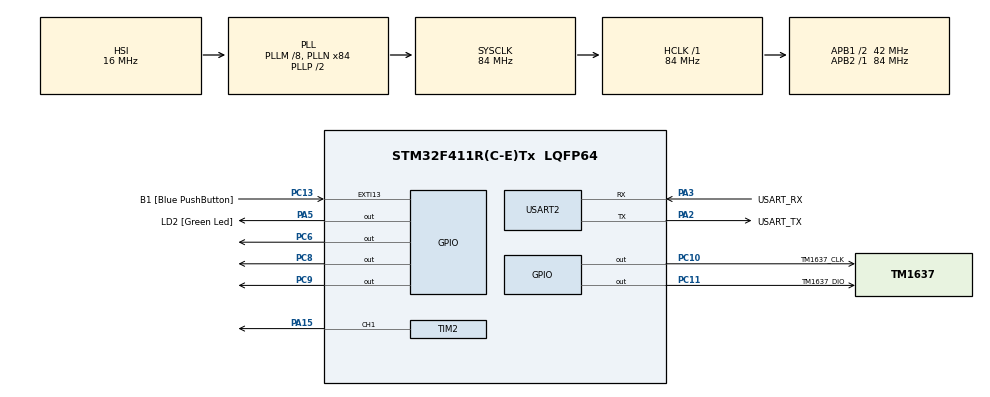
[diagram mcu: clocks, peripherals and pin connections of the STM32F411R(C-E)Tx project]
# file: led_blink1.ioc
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Mcu.Family=STM32F4
Mcu.Name=STM32F411R(C-E)Tx
Mcu.Package=LQFP64
NVIC.PriorityGroup=NVIC_PRIORITYGROUP_0
NVIC.TIM2_IRQn=true\:0\:0\:false\:false\:true\:true\:true\:true
PA13.GPIO_Label=TMS
PA13.Mode=Serial_Wire
PA13.Signal=SYS_JTMS-SWDIO
PA14.GPIO_Label=TCK
PA14.Mode=Serial_Wire
PA14.Signal=SYS_JTCK-SWCLK
PA15.Signal=S_TIM2_CH1_ETR
PA2.GPIO_Label=USART_TX
PA2.Mode=Asynchronous
PA2.Signal=USART2_TX
PA3.GPIO_Label=USART_RX
PA3.Mode=Asynchronous
PA3.Signal=USART2_RX
PA5.GPIO_Label=LD2 [Green Led]
PA5.Signal=GPIO_Output
PB3.GPIO_Label=SWO
PB3.Signal=SYS_JTDO-SWO
PC10.GPIO_Label=TM1637_CLK
PC10.GPIO_ModeDefaultOutputPP=GPIO_MODE_OUTPUT_OD
PC10.GPIO_PuPd=GPIO_NOPULL
PC10.GPIO_Speed=GPIO_SPEED_FREQ_HIGH
PC10.PinState=GPIO_PIN_SET
PC10.Signal=GPIO_Output
PC11.GPIO_Label=TM1637_DIO
PC11.GPIO_ModeDefaultOutputPP=GPIO_MODE_OUTPUT_OD
PC11.GPIO_PuPd=GPIO_NOPULL
PC11.GPIO_Speed=GPIO_SPEED_FREQ_HIGH
PC11.PinState=GPIO_PIN_SET
PC11.Signal=GPIO_Output
PC13-ANTI_TAMP.GPIO_Label=B1 [Blue PushButton]
PC13-ANTI_TAMP.GPIO_ModeDefaultEXTI=GPIO_MODE_IT_FALLING
PC13-ANTI_TAMP.Signal=GPXTI13
PC14-OSC32_IN.Mode=LSE-External-Oscillator
PC14-OSC32_IN.Signal=RCC_OSC32_IN
PC15-OSC32_OUT.Mode=LSE-External-Oscillator
PC15-OSC32_OUT.Signal=RCC_OSC32_OUT
PC6.Signal=GPIO_Output
PC8.Signal=GPIO_Output
PC9.Signal=GPIO_Output
PH0\ -\ OSC_IN.Mode=HSE-External-Clock-Source
PH0\ -\ OSC_IN.Signal=RCC_OSC_IN
PH1\ -\ OSC_OUT.Mode=HSE-External-Clock-Source
PH1\ -\ OSC_OUT.Signal=RCC_OSC_OUT
ProjectManager.HeapSize=0x200
ProjectManager.StackSize=0x400
ProjectManager.TargetToolchain=STM32CubeIDE
RCC.48MHZClocksFreq_Value=42000000
RCC.AHBFreq_Value=84000000
RCC.APB1CLKDivider=RCC_HCLK_DIV2
RCC.APB1Freq_Value=42000000
RCC.APB1TimFreq_Value=84000000
RCC.APB2Freq_Value=84000000
RCC.APB2TimFreq_Value=84000000
RCC.CortexFreq_Value=84000000
RCC.FLatency-AdvancedSettings=FLASH_LATENCY_2
RCC.HCLKFreq_Value=84000000
RCC.HSE_VALUE=8000000
RCC.HSI_VALUE=16000000
RCC.PLLM=8
RCC.PLLN=84
RCC.SYSCLKFreq_VALUE=84000000
RCC.SYSCLKSource=RCC_SYSCLKSOURCE_PLLCLK
RCC.VCOOutputFreq_Value=168000000
SH.S_TIM2_CH1_ETR.0=TIM2_CH1,PWM Generation1 CH1
TIM2.Channel-PWM\ Generation1\ CH1=TIM_CHANNEL_1
TIM2.Period=999
TIM2.Prescaler=83
TIM2.Pulse-PWM\ Generation1\ CH1=500
USART2.VirtualMode=VM_ASYNC
VP_TIM2_VS_ClockSourceINT.Mode=Internal
board=NUCLEO-F411RE

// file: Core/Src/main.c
/* USER CODE BEGIN Header */
/**
  ******************************************************************************
  * @file           : main.c
  * @brief          : Main program body
  ******************************************************************************
  * @attention
  *
  * Copyright (c) 2025 STMicroelectronics.
  * All rights reserved.
  *
  * This software is licensed under terms that can be found in the LICENSE file
  * in the root directory of this software component.
  * If no LICENSE file comes with this software, it is provided AS-IS.
  *
  ******************************************************************************
  */
/* USER CODE END Header */
#include "main.h"

/* USER CODE BEGIN Includes */
#include "00_timer2.h"
#include "01_led_delay.h"
#include "02_led_timer.h"
#include "03_led_pwm.h"
#include "04_polling.h"
#include "05_interrupt.h"
#include "06_register_control.h"
#include "07_traffic_light.h"
#include "tm1637.h"

/* USER CODE END Includes */

TIM_HandleTypeDef htim2;

UART_HandleTypeDef huart2;

void SystemClock_Config(void);
static void MX_GPIO_Init(void);
static void MX_USART2_UART_Init(void);
static void MX_TIM2_Init(void);

/* USER CODE BEGIN 0 */

tm1637_t seg =
  {
      .seg_cnt  = 4,
      .gpio_clk = TM1637_CLK_GPIO_Port,
      .gpio_dat = TM1637_DIO_GPIO_Port,
      .pin_clk  = TM1637_CLK_Pin,
      .pin_dat = TM1637_DIO_Pin,
  };

/* USER CODE END 0 */

int main(void)
{

  /* MCU Configuration--------------------------------------------------------*/

  /* Reset of all peripherals, Initializes the Flash interface and the Systick. */
  HAL_Init();

  /* Configure the system clock */
  SystemClock_Config();

  /* Initialize all configured peripherals */
  MX_GPIO_Init();
	MX_USART2_UART_Init();
	MX_TIM2_Init();

  /* USER CODE BEGIN 2 */
  timer2_run(); // TIM2 시작
  tm1637_init(&seg); // 4-digital display 초기화
  tm1637_brightness(&seg, 1);

//  led_delay_run();      // 01
//  led_timer_run();      // 02
//  led_pwm_run();        // 03
//  led_polling_run();    // 04
//  led_interrupt_run();  // 05
//  gpio_register_run();  // 06 베어메탈 코드이므로 HAL INIT 주석처리해야함
  traffic_light_run();    // 07

  /* USER CODE END 2 */

  /* Infinite loop */
  while (1)
  {

  }
}

void SystemClock_Config(void)
{
  RCC_OscInitTypeDef RCC_OscInitStruct = {0};
  RCC_ClkInitTypeDef RCC_ClkInitStruct = {0};

  /** Configure the main internal regulator output voltage
  */
  __HAL_RCC_PWR_CLK_ENABLE();
  __HAL_PWR_VOLTAGESCALING_CONFIG(PWR_REGULATOR_VOLTAGE_SCALE1);

  /** Initializes the RCC Oscillators according to the specified parameters
  * in the RCC_OscInitTypeDef structure.
  */
  RCC_OscInitStruct.OscillatorType = RCC_OSCILLATORTYPE_HSI;
  RCC_OscInitStruct.HSIState = RCC_HSI_ON;
  RCC_OscInitStruct.HSICalibrationValue = RCC_HSICALIBRATION_DEFAULT;
  RCC_OscInitStruct.PLL.PLLState = RCC_PLL_ON;
  RCC_OscInitStruct.PLL.PLLSource = RCC_PLLSOURCE_HSI;
  RCC_OscInitStruct.PLL.PLLM = 8;
  RCC_OscInitStruct.PLL.PLLN = 84;
  RCC_OscInitStruct.PLL.PLLP = RCC_PLLP_DIV2;
  RCC_OscInitStruct.PLL.PLLQ = 4;
  if (HAL_RCC_OscConfig(&RCC_OscInitStruct) != HAL_OK)
  {
    Error_Handler();
  }

  /** Initializes the CPU, AHB and APB buses clocks
  */
  RCC_ClkInitStruct.ClockType = RCC_CLOCKTYPE_HCLK|RCC_CLOCKTYPE_SYSCLK
                              |RCC_CLOCKTYPE_PCLK1|RCC_CLOCKTYPE_PCLK2;
  RCC_ClkInitStruct.SYSCLKSource = RCC_SYSCLKSOURCE_PLLCLK;
  RCC_ClkInitStruct.AHBCLKDivider = RCC_SYSCLK_DIV1;
  RCC_ClkInitStruct.APB1CLKDivider = RCC_HCLK_DIV2;
  RCC_ClkInitStruct.APB2CLKDivider = RCC_HCLK_DIV1;

  if (HAL_RCC_ClockConfig(&RCC_ClkInitStruct, FLASH_LATENCY_2) != HAL_OK)
  {
    Error_Handler();
  }
}

static void MX_TIM2_Init(void)
{

  TIM_ClockConfigTypeDef sClockSourceConfig = {0};
  TIM_MasterConfigTypeDef sMasterConfig = {0};
  TIM_OC_InitTypeDef sConfigOC = {0};

  htim2.Instance = TIM2;
  htim2.Init.Prescaler = 83;
  htim2.Init.CounterMode = TIM_COUNTERMODE_UP;
  htim2.Init.Period = 999;
  htim2.Init.ClockDivision = TIM_CLOCKDIVISION_DIV1;
  htim2.Init.AutoReloadPreload = TIM_AUTORELOAD_PRELOAD_DISABLE;
  if (HAL_TIM_Base_Init(&htim2) != HAL_OK)
  {
    Error_Handler();
  }
  sClockSourceConfig.ClockSource = TIM_CLOCKSOURCE_INTERNAL;
  if (HAL_TIM_ConfigClockSource(&htim2, &sClockSourceConfig) != HAL_OK)
  {
    Error_Handler();
  }
  if (HAL_TIM_PWM_Init(&htim2) != HAL_OK)
  {
    Error_Handler();
  }
  sMasterConfig.MasterOutputTrigger = TIM_TRGO_RESET;
  sMasterConfig.MasterSlaveMode = TIM_MASTERSLAVEMODE_DISABLE;
  if (HAL_TIMEx_MasterConfigSynchronization(&htim2, &sMasterConfig) != HAL_OK)
  {
    Error_Handler();
  }
  sConfigOC.OCMode = TIM_OCMODE_PWM1;
  sConfigOC.Pulse = 500;
  sConfigOC.OCPolarity = TIM_OCPOLARITY_HIGH;
  sConfigOC.OCFastMode = TIM_OCFAST_DISABLE;
  if (HAL_TIM_PWM_ConfigChannel(&htim2, &sConfigOC, TIM_CHANNEL_1) != HAL_OK)
  {
    Error_Handler();
  }
  HAL_TIM_MspPostInit(&htim2);

}

static void MX_USART2_UART_Init(void)
{

  huart2.Instance = USART2;
  huart2.Init.BaudRate = 115200;
  huart2.Init.WordLength = UART_WORDLENGTH_8B;
  huart2.Init.StopBits = UART_STOPBITS_1;
  huart2.Init.Parity = UART_PARITY_NONE;
  huart2.Init.Mode = UART_MODE_TX_RX;
  huart2.Init.HwFlowCtl = UART_HWCONTROL_NONE;
  huart2.Init.OverSampling = UART_OVERSAMPLING_16;
  if (HAL_UART_Init(&huart2) != HAL_OK)
  {
    Error_Handler();
  }

}

static void MX_GPIO_Init(void)
{
  GPIO_InitTypeDef GPIO_InitStruct = {0};

  /* GPIO Ports Clock Enable */
  __HAL_RCC_GPIOC_CLK_ENABLE();
  __HAL_RCC_GPIOH_CLK_ENABLE();
  __HAL_RCC_GPIOA_CLK_ENABLE();
  __HAL_RCC_GPIOB_CLK_ENABLE();

  /*Configure GPIO pin Output Level */
  HAL_GPIO_WritePin(LD2_GPIO_Port, LD2_Pin, GPIO_PIN_RESET);

  /*Configure GPIO pin Output Level */
  HAL_GPIO_WritePin(GPIOC, GPIO_PIN_6|GPIO_PIN_8|GPIO_PIN_9, GPIO_PIN_RESET);

  /*Configure GPIO pin Output Level */
  HAL_GPIO_WritePin(GPIOC, TM1637_CLK_Pin|TM1637_DIO_Pin, GPIO_PIN_SET);

  /*Configure GPIO pin : B1_Pin */
  GPIO_InitStruct.Pin = B1_Pin;
  GPIO_InitStruct.Mode = GPIO_MODE_IT_FALLING;
  GPIO_InitStruct.Pull = GPIO_NOPULL;
  HAL_GPIO_Init(B1_GPIO_Port, &GPIO_InitStruct);

  /*Configure GPIO pin : LD2_Pin */
  GPIO_InitStruct.Pin = LD2_Pin;
  GPIO_InitStruct.Mode = GPIO_MODE_OUTPUT_PP;
  GPIO_InitStruct.Pull = GPIO_NOPULL;
  GPIO_InitStruct.Speed = GPIO_SPEED_FREQ_LOW;
  HAL_GPIO_Init(LD2_GPIO_Port, &GPIO_InitStruct);

  /*Configure GPIO pins : PC6 PC8 PC9 */
  GPIO_InitStruct.Pin = GPIO_PIN_6|GPIO_PIN_8|GPIO_PIN_9;
  GPIO_InitStruct.Mode = GPIO_MODE_OUTPUT_PP;
  GPIO_InitStruct.Pull = GPIO_NOPULL;
  GPIO_InitStruct.Speed = GPIO_SPEED_FREQ_LOW;
  HAL_GPIO_Init(GPIOC, &GPIO_InitStruct);

  /*Configure GPIO pins : TM1637_CLK_Pin TM1637_DIO_Pin */
  GPIO_InitStruct.Pin = TM1637_CLK_Pin|TM1637_DIO_Pin;
  GPIO_InitStruct.Mode = GPIO_MODE_OUTPUT_OD;
  GPIO_InitStruct.Pull = GPIO_NOPULL;
  GPIO_InitStruct.Speed = GPIO_SPEED_FREQ_HIGH;
  HAL_GPIO_Init(GPIOC, &GPIO_InitStruct);

  /* USER CODE BEGIN MX_GPIO_Init_2 */
  HAL_NVIC_SetPriority(EXTI15_10_IRQn, 0, 0);
	HAL_NVIC_EnableIRQ(EXTI15_10_IRQn);
  /* USER CODE END MX_GPIO_Init_2 */
}

void Error_Handler(void)
{
  __disable_irq();
  while (1)
  {
  }
}
